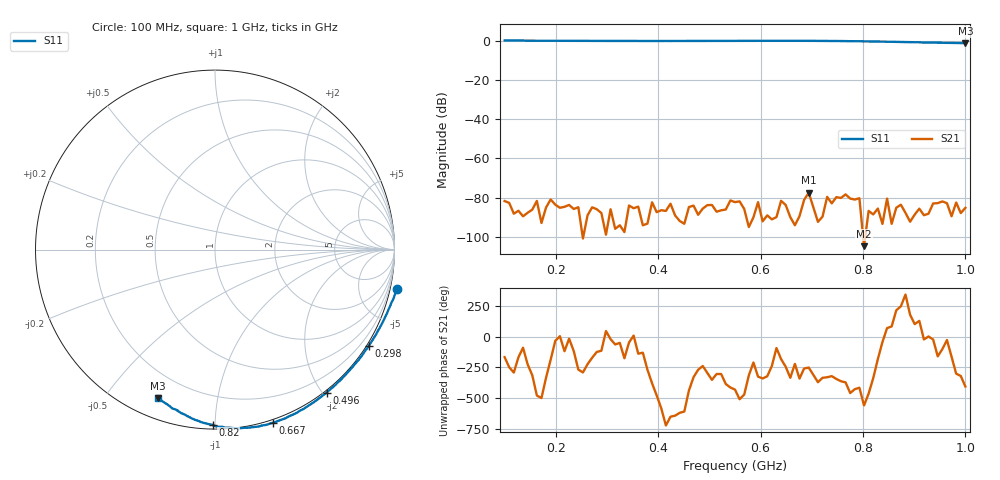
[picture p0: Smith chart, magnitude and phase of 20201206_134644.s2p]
# HZ S RI R 50
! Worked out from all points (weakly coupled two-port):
!   101 points, 100 MHz to 1 GHz, reference 50 ohm
!   highest |S21| = -77.53 dB at 694 MHz (marker M1); lowest = -104.9 dB at 802 MHz (marker M2)
!   lowest |S11| = -1.1 dB at 1 GHz (marker M3), VSWR 16.55, Z = 4.44 - j34.2 ohm
!   |S11| at or under -10 dB: nowhere
!   S12 and S22 are empty: the file has one direction only
!   S11 on the Smith chart (normalised r, x): 100 MHz: -1.61, -9.08; 298 MHz: -0.07, -3.49; 496 MHz: -0.03, -2.05; 667 MHz: -0.02, -1.39; 820 MHz: 0.02, -0.99; 1 GHz: 0.09, -0.68
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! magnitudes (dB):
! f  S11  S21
! 100 MHz  0.3  -81.8
! 253 MHz  0.1  -100.9
! 298 MHz  0.1  -99.0
! 406 MHz  0.1  -86.5
! 496 MHz  0.1  -83.9
! 550 MHz  0.1  -82.3
! 667 MHz  0.1  -94.2
! 685 MHz  0.1  -81.2
! 694 MHz  0.1  -77.5
! 703 MHz  0.1  -85.0
! 721 MHz  0.1  -89.8
! 730 MHz  0.1  -79.6
! 739 MHz  0.0  -83.0
! 748 MHz  0.0  -79.8
! 757 MHz  0.0  -80.2
! 766 MHz  0.0  -78.4
! 775 MHz  0.0  -80.5
! 802 MHz  -0.1  -104.9
! 820 MHz  -0.2  -88.6
! 856 MHz  -0.4  -93.4
! 919 MHz  -0.7  -89.0
! 1 GHz  -1.1  -85.3
